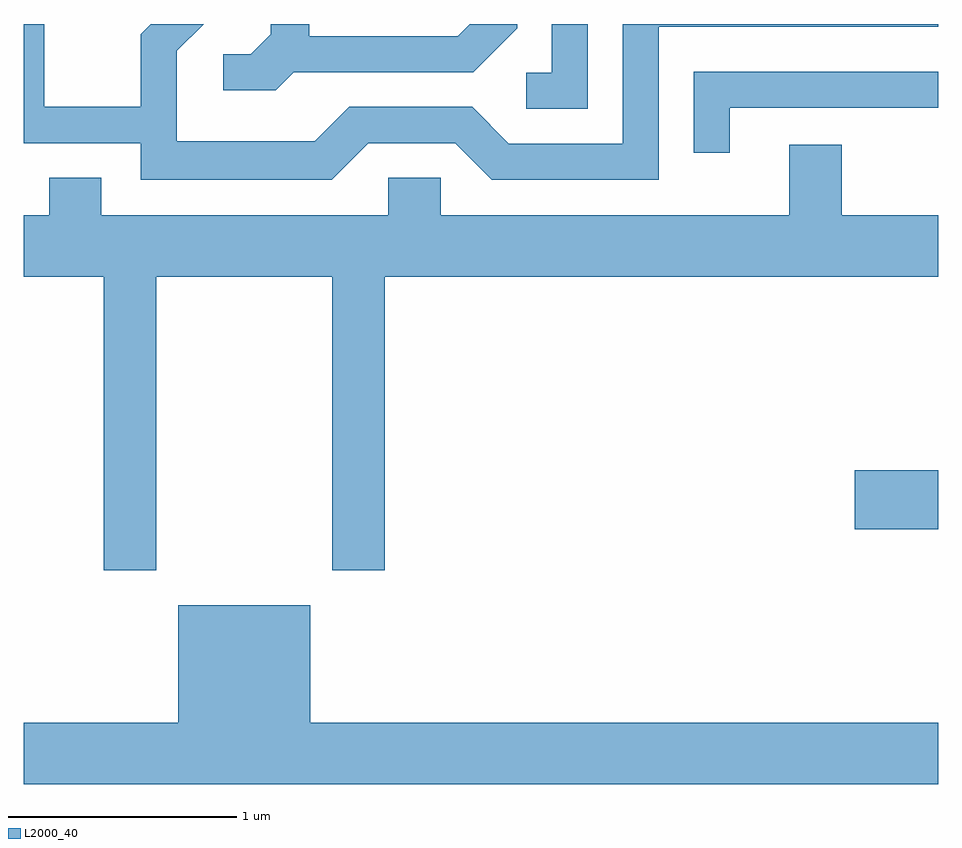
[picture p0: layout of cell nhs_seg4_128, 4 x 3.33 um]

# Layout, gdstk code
import gdstk
lib = gdstk.Library(unit=1e-6, precision=1e-09)
def R(c, l, rs):  # rectangles x0, y0, x1, y1
    for r in rs: c.add(gdstk.rectangle(r[:2], r[2:], *l))
def P(c, l, *ps):  # polygons
    for p in ps: c.add(gdstk.Polygon(p, *l))
L2000_40 = (2000, 40)

nhs_seg4_128 = lib.new_cell('nhs_seg4_128')
R(nhs_seg4_128, L2000_40, [(191.246,1375.771,191.611,1376.029)])
P(nhs_seg4_128, L2000_40, [(190.079,1377.982),(189.921,1377.982),(189.921,1377.769),(189.808,1377.769),(189.808,1377.611),(190.079,1377.611)],
  [(188.792,1377.771),(189.577,1377.771),(189.769,1377.964),(189.769,1377.982),(189.561,1377.982),(189.509,1377.929),(188.859,1377.929),(188.859,1377.982),(188.691,1377.982),(188.691,1377.937),(188.604,1377.849),(188.483,1377.849),(188.483,1377.691),(188.712,1377.691)],
  [(189.117,1377.461),(189.499,1377.461),(189.659,1377.301),(190.389,1377.301),(190.389,1377.971),(191.611,1377.971),(191.611,1377.982),(190.231,1377.982),(190.231,1377.459),(189.732,1377.459),(189.572,1377.619),(189.034,1377.619),(188.884,1377.469),(188.279,1377.469),(188.279,1377.864),(188.397,1377.982),(188.166,1377.982),(188.121,1377.937),(188.121,1377.619),(187.699,1377.619),(187.699,1377.982),(187.611,1377.982),(187.611,1377.461),(188.121,1377.461),(188.121,1377.301),(188.957,1377.301)],
  [(190.699,1377.616),(191.611,1377.616),(191.611,1377.774),(190.541,1377.774),(190.541,1377.418),(190.699,1377.418)],
  [(188.189,1376.876),(188.961,1376.876),(188.961,1375.591),(189.189,1375.591),(189.189,1376.876),(191.611,1376.876),(191.611,1377.144),(191.189,1377.144),(191.189,1377.454),(190.961,1377.454),(190.961,1377.144),(189.434,1377.144),(189.434,1377.309),(189.206,1377.309),(189.206,1377.144),(187.949,1377.144),(187.949,1377.309),(187.721,1377.309),(187.721,1377.144),(187.611,1377.144),(187.611,1376.876),(187.961,1376.876),(187.961,1375.591),(188.189,1375.591)],
  [(191.611,1374.924),(188.864,1374.924),(188.864,1375.439),(188.286,1375.439),(188.286,1374.924),(187.611,1374.924),(187.611,1374.656),(191.611,1374.656)])

lib.write_gds('nhs_seg4_128.gds')
